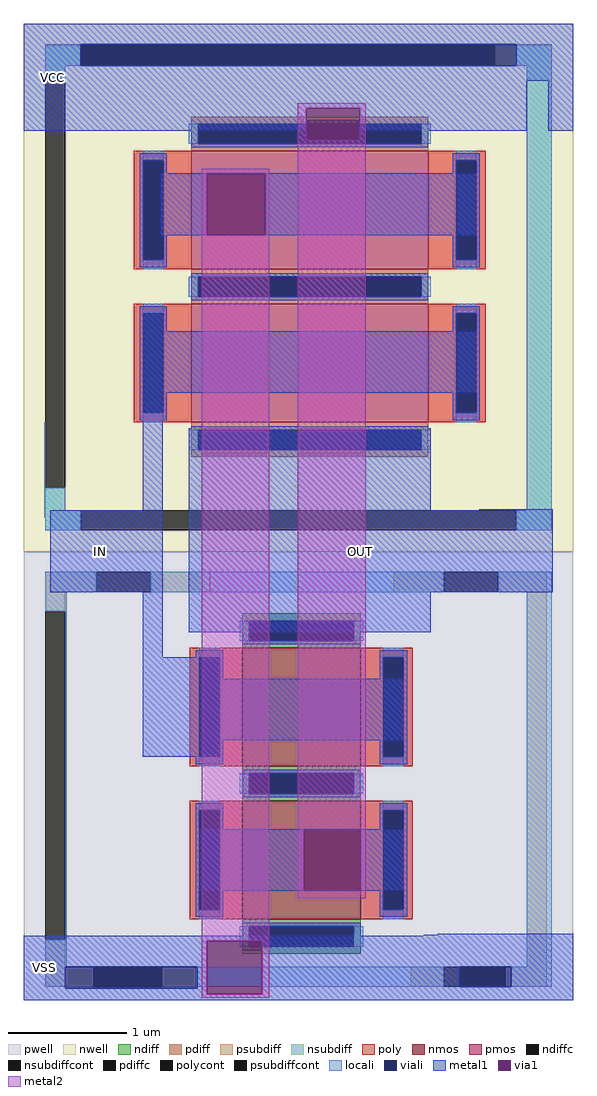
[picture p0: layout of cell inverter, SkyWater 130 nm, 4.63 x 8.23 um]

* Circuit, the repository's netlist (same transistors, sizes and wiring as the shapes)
** sch_path: /home/dmatkin/tt07-dual-oscillator/xschem/inverter.sch
**.subckt inverter OUT IN VCC VSS
*.iopin VCC
*.iopin VSS
*.ipin IN
*.opin OUT
XM1 OUT IN net1 VCC sky130_fd_pr__pfet_01v8 L=1 W=2 nf=1 ad='int((nf+1)/2) * W/nf * 0.29' as='int((nf+2)/2) * W/nf * 0.29' pd='2*int((nf+1)/2) * (W/nf + 0.29)'
+ ps='2*int((nf+2)/2) * (W/nf + 0.29)' nrd='0.29 / W' nrs='0.29 / W' sa=0 sb=0 sd=0 mult=1 m=1
XM2 OUT IN net2 VSS sky130_fd_pr__nfet_01v8 L=1 W=1 nf=1 ad='int((nf+1)/2) * W/nf * 0.29' as='int((nf+2)/2) * W/nf * 0.29' pd='2*int((nf+1)/2) * (W/nf + 0.29)'
+ ps='2*int((nf+2)/2) * (W/nf + 0.29)' nrd='0.29 / W' nrs='0.29 / W' sa=0 sb=0 sd=0 mult=1 m=1
XM3 net1 VSS VCC VCC sky130_fd_pr__pfet_01v8 L=1 W=2 nf=1 ad='int((nf+1)/2) * W/nf * 0.29' as='int((nf+2)/2) * W/nf * 0.29' pd='2*int((nf+1)/2) * (W/nf + 0.29)'
+ ps='2*int((nf+2)/2) * (W/nf + 0.29)' nrd='0.29 / W' nrs='0.29 / W' sa=0 sb=0 sd=0 mult=1 m=1
XM4 net2 VCC VSS VSS sky130_fd_pr__nfet_01v8 L=1 W=1 nf=1 ad='int((nf+1)/2) * W/nf * 0.29' as='int((nf+2)/2) * W/nf * 0.29' pd='2*int((nf+1)/2) * (W/nf + 0.29)'
+ ps='2*int((nf+2)/2) * (W/nf + 0.29)' nrd='0.29 / W' nrs='0.29 / W' sa=0 sb=0 sd=0 mult=1 m=1
**.ends
.end

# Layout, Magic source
magic
tech sky130A
<< nwell >>
rect 451 1212 914 1657
<< pwell >>
rect 451 834 914 1212
<< psubdiff >>
rect 469 1178 512 1195
rect 558 1178 608 1195
rect 763 1178 805 1195
rect 851 1178 892 1195
rect 469 1162 486 1178
rect 469 862 486 885
rect 875 862 892 1178
rect 469 845 510 862
rect 567 845 596 862
rect 777 845 805 862
rect 857 845 892 862
<< nsubdiff >>
rect 469 1622 499 1639
rect 848 1622 896 1639
rect 469 1609 486 1622
rect 469 1247 486 1266
rect 875 1247 896 1622
rect 469 1230 499 1247
rect 866 1230 896 1247
<< psubdiffcont >>
rect 512 1178 558 1195
rect 805 1178 851 1195
rect 469 885 486 1162
rect 510 845 567 862
rect 805 845 857 862
<< nsubdiffcont >>
rect 499 1622 848 1639
rect 469 1266 486 1609
rect 499 1230 866 1247
<< locali >>
rect 469 1622 499 1640
rect 866 1622 896 1640
rect 469 1609 486 1622
rect 468 1266 469 1321
rect 468 1247 486 1266
rect 875 1247 896 1622
rect 468 1241 499 1247
rect 469 1230 499 1241
rect 866 1230 896 1247
rect 469 1178 512 1195
rect 558 1178 805 1195
rect 851 1178 896 1195
rect 469 1162 487 1178
rect 486 885 487 1162
rect 469 862 487 885
rect 875 862 896 1178
rect 469 845 486 862
rect 597 845 805 862
rect 862 845 896 862
<< viali >>
rect 499 1639 866 1640
rect 499 1622 848 1639
rect 848 1622 866 1639
rect 486 845 510 862
rect 510 845 567 862
rect 567 845 597 862
rect 818 845 857 862
rect 857 845 862 862
rect 486 844 597 845
<< metal1 >>
rect 451 1640 914 1657
rect 451 1622 499 1640
rect 866 1622 914 1640
rect 451 1609 914 1622
rect 451 1586 875 1609
rect 451 1567 689 1586
rect 734 1567 875 1586
rect 893 1567 914 1609
rect 566 1479 605 1531
rect 655 1479 832 1531
rect 551 1398 568 1413
rect 551 1346 832 1398
rect 551 1247 568 1346
rect 473 1178 568 1247
rect 551 1123 568 1178
rect 590 1247 794 1316
rect 835 1247 897 1248
rect 590 1178 897 1247
rect 590 1144 794 1178
rect 551 1105 616 1123
rect 551 1053 772 1105
rect 551 1039 616 1053
rect 598 926 687 978
rect 735 926 771 978
rect 800 889 914 890
rect 788 888 914 889
rect 451 884 914 888
rect 451 862 605 884
rect 451 844 486 862
rect 597 844 605 862
rect 451 839 605 844
rect 652 862 914 884
rect 652 845 818 862
rect 862 845 914 862
rect 652 839 914 845
rect 451 834 914 839
<< via1 >>
rect 689 1559 734 1586
rect 605 1479 655 1531
rect 687 926 735 978
rect 605 839 652 884
<< metal2 >>
rect 682 1586 739 1590
rect 682 1559 689 1586
rect 734 1559 739 1586
rect 601 1531 658 1535
rect 601 1479 605 1531
rect 655 1479 658 1531
rect 601 884 658 1479
rect 682 978 739 1559
rect 682 926 687 978
rect 735 926 739 978
rect 682 920 739 926
rect 601 839 605 884
rect 652 839 658 884
rect 601 836 658 839
use sky130_fd_pr__nfet_01v8_EEHCG5  sky130_fd_pr__nfet_01v8_EEHCG5_0
transform 0 -1 685 1 0 1081
box -79 -94 79 94
use sky130_fd_pr__nfet_01v8_EEHCG5  sky130_fd_pr__nfet_01v8_EEHCG5_1
transform 0 -1 685 1 0 952
box -79 -94 79 94
use sky130_fd_pr__pfet_01v8_BPT9FA  sky130_fd_pr__pfet_01v8_BPT9FA_0
transform 0 -1 692 1 0 1371
box -97 -150 97 150
use sky130_fd_pr__pfet_01v8_BPT9FA  XM3
transform 0 -1 692 1 0 1500
box -97 -150 97 150
<< labels >>
flabel metal1 473 1178 558 1247 0 FreeSans 400 0 0 0 IN
port 0 nsew
flabel metal1 590 1178 879 1247 0 FreeSans 400 0 0 0 OUT
port 1 nsew
flabel metal1 451 1567 499 1657 0 FreeSans 400 0 0 0 VCC
port 2 nsew
flabel metal1 451 834 486 888 0 FreeSans 400 0 0 0 VSS
port 4 nsew
<< end >>

# cell sky130_fd_pr__nfet_01v8_EEHCG5: kit device sky130_fd_pr__nfet_01v8, w 1.0 l 1.0 m 1 nf 1 diffcov 100 polycov 100 guard 0 glc 0 grc 0 gtc 0 gbc 0 tbcov 100 rlcov 100 topc 1 botc 1 poverlap 0 doverlap 1 lmin 0.15 wmin 0.42 compatible {sky130_fd_pr__nfet_01v8 sky130_fd_pr__nfet_01v8_lvt sky130_fd_bs_flash__special_sonosfet_star sky130_fd_pr__nfet_g5v0d10v5 sky130_fd_pr__nfet_05v0_nvt sky130_fd_pr__nfet_03v3_nvt} full_metal 0 viasrc 100 viadrn 100 viagate 100 viagb 0 viagr 0 viagl 0 viagt 0

# cell sky130_fd_pr__pfet_01v8_BPT9FA: kit device sky130_fd_pr__pfet_01v8, w 2.0 l 1.0 m 1 nf 1 diffcov 100 polycov 100 guard 0 glc 0 grc 0 gtc 0 gbc 0 tbcov 100 rlcov 100 topc 1 botc 1 poverlap 1 doverlap 1 lmin 0.15 wmin 0.42 compatible {sky130_fd_pr__pfet_01v8 sky130_fd_pr__pfet_01v8_lvt sky130_fd_pr__pfet_01v8_hvt sky130_fd_pr__pfet_g5v0d10v5} full_metal 0 viasrc 100 viadrn 100 viagate 100 viagb 0 viagr 0 viagl 0 viagt 0
